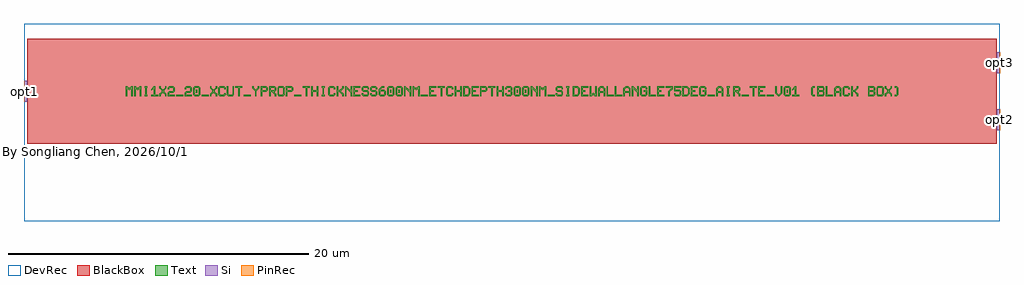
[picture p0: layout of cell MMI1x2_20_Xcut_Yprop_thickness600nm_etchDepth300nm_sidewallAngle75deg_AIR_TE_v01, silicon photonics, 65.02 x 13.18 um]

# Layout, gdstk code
import gdstk
lib = gdstk.Library(unit=1e-6, precision=1e-10)
def R(c, l, rs):  # rectangles x0, y0, x1, y1
    for r in rs: c.add(gdstk.rectangle(r[:2], r[2:], *l))
def A(c, l, x, y, w, h, nx, ny, dx, dy):  # array of equal rectangles
    R(c, l, [(x+i*dx, y+j*dy, x+i*dx+w, y+j*dy+h) for i in range(nx) for j in range(ny)])
def P(c, l, *ps):  # polygons
    for p in ps: c.add(gdstk.Polygon(p, *l))
Si = (1, 0)
PinRec = (1, 10)
Text = (10, 0)
DevRec = (68, 0)
BlackBox = (998, 0)

text = lib.new_cell('TEXT')
A(text, Text, 11.24, 0, 0.468, 0.094, 3, 1, 8.43, 0)
R(text, Text, [(3.372,0,3.84,0.094), (5.058,0,5.526,0.094), (7.868,0,8.336,0.094), (38.778,0,39.246,0.094), (41.026,0,41.494,0.094), (42.712,0,43.18,0.094), (4.683,0.234,4.777,0.421), (17.609,0.234,17.703,0.421), (18.171,0.234,18.265,0.421), (26.039,0.234,26.133,0.421), (26.601,0.234,26.695,0.421), (44.023,0.234,44.117,0.421)])
P(text, Text, [(0,0),(0,0.655),(0.094,0.655),(0.187,0.562),(0.281,0.562),(0.374,0.655),(0.468,0.655),(0.468,0),(0.374,0),(0.374,0.468),(0.328,0.468),(0.234,0.374),(0.14,0.468),(0.094,0.468),(0.094,0)],
  [(0.562,0),(0.562,0.655),(0.656,0.655),(0.749,0.562),(0.843,0.562),(0.936,0.655),(1.03,0.655),(1.03,0),(0.936,0),(0.936,0.468),(0.89,0.468),(0.796,0.374),(0.702,0.468),(0.656,0.468),(0.656,0)],
  [(1.264,0),(1.264,0.094),(1.311,0.094),(1.311,0.562),(1.264,0.562),(1.264,0.655),(1.452,0.655),(1.452,0.562),(1.405,0.562),(1.405,0.094),(1.452,0.094),(1.452,0)],
  [(1.686,0),(1.686,0.094),(1.873,0.094),(1.873,0.468),(1.826,0.468),(1.733,0.374),(1.686,0.374),(1.686,0.468),(1.873,0.655),(1.967,0.655),(1.967,0.094),(2.154,0.094),(2.154,0)],
  [(2.248,0),(2.248,0.14),(2.388,0.281),(2.388,0.374),(2.248,0.515),(2.248,0.655),(2.342,0.655),(2.342,0.562),(2.482,0.421),(2.622,0.562),(2.622,0.655),(2.716,0.655),(2.716,0.515),(2.576,0.374),(2.576,0.281),(2.716,0.14),(2.716,0),(2.622,0),(2.622,0.094),(2.482,0.234),(2.342,0.094),(2.342,0)],
  [(2.81,0),(2.81,0.234),(2.904,0.328),(3.138,0.328),(3.184,0.374),(3.184,0.515),(3.138,0.562),(2.95,0.562),(2.904,0.515),(2.904,0.468),(2.81,0.468),(2.81,0.562),(2.904,0.655),(3.184,0.655),(3.278,0.562),(3.278,0.328),(3.184,0.234),(2.95,0.234),(2.904,0.187),(2.904,0.094),(3.278,0.094),(3.278,0)],
  [(3.934,0),(3.934,0.234),(4.028,0.328),(4.262,0.328),(4.308,0.374),(4.308,0.515),(4.262,0.562),(4.074,0.562),(4.028,0.515),(4.028,0.468),(3.934,0.468),(3.934,0.562),(4.028,0.655),(4.308,0.655),(4.402,0.562),(4.402,0.328),(4.308,0.234),(4.074,0.234),(4.028,0.187),(4.028,0.094),(4.402,0.094),(4.402,0)],
  [(4.59,0),(4.496,0.094),(4.496,0.562),(4.59,0.655),(4.87,0.655),(4.964,0.562),(4.636,0.562),(4.59,0.515),(4.59,0.14),(4.636,0.094),(4.824,0.094),(4.87,0.14),(4.87,0.515),(4.824,0.562),(4.964,0.562),(4.964,0.094),(4.87,0)],
  [(5.62,0),(5.62,0.14),(5.76,0.281),(5.76,0.374),(5.62,0.515),(5.62,0.655),(5.714,0.655),(5.714,0.562),(5.854,0.421),(5.994,0.562),(5.994,0.655),(6.088,0.655),(6.088,0.515),(5.948,0.374),(5.948,0.281),(6.088,0.14),(6.088,0),(5.994,0),(5.994,0.094),(5.854,0.234),(5.714,0.094),(5.714,0)],
  [(6.276,0),(6.182,0.094),(6.182,0.562),(6.276,0.655),(6.556,0.655),(6.65,0.562),(6.65,0.468),(6.556,0.468),(6.556,0.515),(6.51,0.562),(6.322,0.562),(6.276,0.515),(6.276,0.14),(6.322,0.094),(6.51,0.094),(6.556,0.14),(6.556,0.187),(6.65,0.187),(6.65,0.094),(6.556,0)],
  [(6.838,0),(6.744,0.094),(6.744,0.655),(6.838,0.655),(6.838,0.14),(6.884,0.094),(7.072,0.094),(7.118,0.14),(7.118,0.655),(7.212,0.655),(7.212,0.094),(7.118,0)],
  [(7.493,0),(7.493,0.562),(7.306,0.562),(7.306,0.655),(7.774,0.655),(7.774,0.562),(7.587,0.562),(7.587,0)],
  [(8.617,0),(8.617,0.328),(8.43,0.515),(8.43,0.655),(8.524,0.655),(8.524,0.562),(8.664,0.421),(8.804,0.562),(8.804,0.655),(8.898,0.655),(8.898,0.515),(8.711,0.328),(8.711,0)],
  [(8.992,0),(8.992,0.655),(9.366,0.655),(9.46,0.562),(9.46,0.374),(9.366,0.281),(9.086,0.281),(9.086,0.374),(9.32,0.374),(9.366,0.421),(9.366,0.515),(9.32,0.562),(9.086,0.562),(9.086,0)],
  [(9.554,0),(9.554,0.655),(9.928,0.655),(10.022,0.562),(9.648,0.562),(9.648,0.374),(9.882,0.374),(9.928,0.421),(9.928,0.515),(9.882,0.562),(10.022,0.562),(10.022,0.374),(9.928,0.281),(9.928,0.234),(10.022,0.14),(10.022,0),(9.928,0),(9.928,0.094),(9.741,0.281),(9.648,0.281),(9.648,0)],
  [(10.21,0),(10.116,0.094),(10.116,0.562),(10.21,0.655),(10.49,0.655),(10.584,0.562),(10.584,0.328),(10.49,0.328),(10.49,0.515),(10.444,0.562),(10.256,0.562),(10.21,0.515),(10.21,0.14),(10.256,0.094),(10.444,0.094),(10.49,0.14),(10.49,0.328),(10.584,0.328),(10.584,0.094),(10.49,0)],
  [(10.678,0),(10.678,0.655),(11.052,0.655),(11.146,0.562),(11.146,0.374),(11.052,0.281),(10.772,0.281),(10.772,0.374),(11.006,0.374),(11.052,0.421),(11.052,0.515),(11.006,0.562),(10.772,0.562),(10.772,0)],
  [(11.989,0),(11.989,0.562),(11.802,0.562),(11.802,0.655),(12.27,0.655),(12.27,0.562),(12.083,0.562),(12.083,0)],
  [(12.364,0),(12.364,0.655),(12.458,0.655),(12.458,0.374),(12.738,0.374),(12.738,0.655),(12.832,0.655),(12.832,0),(12.738,0),(12.738,0.281),(12.458,0.281),(12.458,0)],
  [(13.066,0),(13.066,0.094),(13.113,0.094),(13.113,0.562),(13.066,0.562),(13.066,0.655),(13.254,0.655),(13.254,0.562),(13.207,0.562),(13.207,0.094),(13.254,0.094),(13.254,0)],
  [(13.582,0),(13.488,0.094),(13.488,0.562),(13.582,0.655),(13.862,0.655),(13.956,0.562),(13.956,0.468),(13.862,0.468),(13.862,0.515),(13.816,0.562),(13.628,0.562),(13.582,0.515),(13.582,0.14),(13.628,0.094),(13.816,0.094),(13.862,0.14),(13.862,0.187),(13.956,0.187),(13.956,0.094),(13.862,0)],
  [(14.05,0),(14.05,0.655),(14.144,0.655),(14.144,0.374),(14.237,0.374),(14.424,0.562),(14.424,0.655),(14.518,0.655),(14.518,0.515),(14.331,0.328),(14.518,0.14),(14.518,0),(14.424,0),(14.424,0.094),(14.237,0.281),(14.144,0.281),(14.144,0)],
  [(14.612,0),(14.612,0.655),(14.706,0.655),(14.94,0.421),(14.986,0.421),(14.986,0.655),(15.08,0.655),(15.08,0),(14.986,0),(14.986,0.234),(14.752,0.468),(14.706,0.468),(14.706,0)],
  [(15.174,0),(15.174,0.655),(15.642,0.655),(15.642,0.562),(15.268,0.562),(15.268,0.374),(15.455,0.374),(15.455,0.281),(15.268,0.281),(15.268,0.094),(15.642,0.094),(15.642,0)],
  [(15.83,0),(15.736,0.094),(15.736,0.187),(15.83,0.187),(15.83,0.14),(15.876,0.094),(16.064,0.094),(16.11,0.14),(16.11,0.234),(16.064,0.281),(15.83,0.281),(15.736,0.374),(15.736,0.562),(15.83,0.655),(16.11,0.655),(16.204,0.562),(16.204,0.468),(16.11,0.468),(16.11,0.515),(16.064,0.562),(15.876,0.562),(15.83,0.515),(15.83,0.421),(15.876,0.374),(16.11,0.374),(16.204,0.281),(16.204,0.094),(16.11,0)],
  [(16.392,0),(16.298,0.094),(16.298,0.187),(16.392,0.187),(16.392,0.14),(16.438,0.094),(16.626,0.094),(16.672,0.14),(16.672,0.234),(16.626,0.281),(16.392,0.281),(16.298,0.374),(16.298,0.562),(16.392,0.655),(16.672,0.655),(16.766,0.562),(16.766,0.468),(16.672,0.468),(16.672,0.515),(16.626,0.562),(16.438,0.562),(16.392,0.515),(16.392,0.421),(16.438,0.374),(16.672,0.374),(16.766,0.281),(16.766,0.094),(16.672,0)],
  [(16.954,0),(16.86,0.094),(16.86,0.468),(17.047,0.655),(17.234,0.655),(17.234,0.562),(17.094,0.562),(17,0.468),(17,0.421),(17.234,0.421),(17.328,0.328),(17,0.328),(16.954,0.281),(16.954,0.14),(17,0.094),(17.188,0.094),(17.234,0.14),(17.234,0.281),(17.188,0.328),(17.328,0.328),(17.328,0.094),(17.234,0)],
  [(17.516,0),(17.422,0.094),(17.422,0.562),(17.516,0.655),(17.796,0.655),(17.89,0.562),(17.562,0.562),(17.516,0.515),(17.516,0.14),(17.562,0.094),(17.75,0.094),(17.796,0.14),(17.796,0.515),(17.75,0.562),(17.89,0.562),(17.89,0.094),(17.796,0)],
  [(18.078,0),(17.984,0.094),(17.984,0.562),(18.078,0.655),(18.358,0.655),(18.452,0.562),(18.124,0.562),(18.078,0.515),(18.078,0.14),(18.124,0.094),(18.312,0.094),(18.358,0.14),(18.358,0.515),(18.312,0.562),(18.452,0.562),(18.452,0.094),(18.358,0)],
  [(18.546,0),(18.546,0.655),(18.64,0.655),(18.874,0.421),(18.92,0.421),(18.92,0.655),(19.014,0.655),(19.014,0),(18.92,0),(18.92,0.234),(18.686,0.468),(18.64,0.468),(18.64,0)],
  [(19.108,0),(19.108,0.655),(19.202,0.655),(19.295,0.562),(19.389,0.562),(19.482,0.655),(19.576,0.655),(19.576,0),(19.482,0),(19.482,0.468),(19.436,0.468),(19.342,0.374),(19.248,0.468),(19.202,0.468),(19.202,0)],
  [(20.232,0),(20.232,0.655),(20.7,0.655),(20.7,0.562),(20.326,0.562),(20.326,0.374),(20.513,0.374),(20.513,0.281),(20.326,0.281),(20.326,0.094),(20.7,0.094),(20.7,0)],
  [(20.981,0),(20.981,0.562),(20.794,0.562),(20.794,0.655),(21.262,0.655),(21.262,0.562),(21.075,0.562),(21.075,0)],
  [(21.45,0),(21.356,0.094),(21.356,0.562),(21.45,0.655),(21.73,0.655),(21.824,0.562),(21.824,0.468),(21.73,0.468),(21.73,0.515),(21.684,0.562),(21.496,0.562),(21.45,0.515),(21.45,0.14),(21.496,0.094),(21.684,0.094),(21.73,0.14),(21.73,0.187),(21.824,0.187),(21.824,0.094),(21.73,0)],
  [(21.918,0),(21.918,0.655),(22.012,0.655),(22.012,0.374),(22.292,0.374),(22.292,0.655),(22.386,0.655),(22.386,0),(22.292,0),(22.292,0.281),(22.012,0.281),(22.012,0)],
  [(22.48,0),(22.48,0.655),(22.808,0.655),(22.901,0.562),(22.574,0.562),(22.574,0.094),(22.761,0.094),(22.854,0.187),(22.854,0.468),(22.761,0.562),(22.901,0.562),(22.948,0.515),(22.948,0.14),(22.808,0)],
  [(23.042,0),(23.042,0.655),(23.51,0.655),(23.51,0.562),(23.136,0.562),(23.136,0.374),(23.323,0.374),(23.323,0.281),(23.136,0.281),(23.136,0.094),(23.51,0.094),(23.51,0)],
  [(23.604,0),(23.604,0.655),(23.978,0.655),(24.072,0.562),(24.072,0.374),(23.978,0.281),(23.698,0.281),(23.698,0.374),(23.932,0.374),(23.978,0.421),(23.978,0.515),(23.932,0.562),(23.698,0.562),(23.698,0)],
  [(24.353,0),(24.353,0.562),(24.166,0.562),(24.166,0.655),(24.634,0.655),(24.634,0.562),(24.447,0.562),(24.447,0)],
  [(24.728,0),(24.728,0.655),(24.822,0.655),(24.822,0.374),(25.102,0.374),(25.102,0.655),(25.196,0.655),(25.196,0),(25.102,0),(25.102,0.281),(24.822,0.281),(24.822,0)],
  [(25.384,0),(25.29,0.094),(25.29,0.187),(25.384,0.187),(25.384,0.14),(25.43,0.094),(25.618,0.094),(25.664,0.14),(25.664,0.234),(25.618,0.281),(25.477,0.281),(25.477,0.374),(25.618,0.374),(25.664,0.421),(25.664,0.515),(25.618,0.562),(25.43,0.562),(25.384,0.515),(25.384,0.468),(25.29,0.468),(25.29,0.562),(25.384,0.655),(25.664,0.655),(25.758,0.562),(25.758,0.374),(25.711,0.328),(25.758,0.281),(25.758,0.094),(25.664,0)],
  [(25.946,0),(25.852,0.094),(25.852,0.562),(25.946,0.655),(26.226,0.655),(26.32,0.562),(25.992,0.562),(25.946,0.515),(25.946,0.14),(25.992,0.094),(26.18,0.094),(26.226,0.14),(26.226,0.515),(26.18,0.562),(26.32,0.562),(26.32,0.094),(26.226,0)],
  [(26.508,0),(26.414,0.094),(26.414,0.562),(26.508,0.655),(26.788,0.655),(26.882,0.562),(26.554,0.562),(26.508,0.515),(26.508,0.14),(26.554,0.094),(26.742,0.094),(26.788,0.14),(26.788,0.515),(26.742,0.562),(26.882,0.562),(26.882,0.094),(26.788,0)],
  [(26.976,0),(26.976,0.655),(27.07,0.655),(27.304,0.421),(27.35,0.421),(27.35,0.655),(27.444,0.655),(27.444,0),(27.35,0),(27.35,0.234),(27.116,0.468),(27.07,0.468),(27.07,0)],
  [(27.538,0),(27.538,0.655),(27.632,0.655),(27.725,0.562),(27.819,0.562),(27.912,0.655),(28.006,0.655),(28.006,0),(27.912,0),(27.912,0.468),(27.866,0.468),(27.772,0.374),(27.678,0.468),(27.632,0.468),(27.632,0)],
  [(28.756,0),(28.662,0.094),(28.662,0.187),(28.756,0.187),(28.756,0.14),(28.802,0.094),(28.99,0.094),(29.036,0.14),(29.036,0.234),(28.99,0.281),(28.756,0.281),(28.662,0.374),(28.662,0.562),(28.756,0.655),(29.036,0.655),(29.13,0.562),(29.13,0.468),(29.036,0.468),(29.036,0.515),(28.99,0.562),(28.802,0.562),(28.756,0.515),(28.756,0.421),(28.802,0.374),(29.036,0.374),(29.13,0.281),(29.13,0.094),(29.036,0)],
  [(29.364,0),(29.364,0.094),(29.411,0.094),(29.411,0.562),(29.364,0.562),(29.364,0.655),(29.552,0.655),(29.552,0.562),(29.505,0.562),(29.505,0.094),(29.552,0.094),(29.552,0)],
  [(29.786,0),(29.786,0.655),(30.114,0.655),(30.207,0.562),(29.88,0.562),(29.88,0.094),(30.067,0.094),(30.16,0.187),(30.16,0.468),(30.067,0.562),(30.207,0.562),(30.254,0.515),(30.254,0.14),(30.114,0)],
  [(30.348,0),(30.348,0.655),(30.816,0.655),(30.816,0.562),(30.442,0.562),(30.442,0.374),(30.629,0.374),(30.629,0.281),(30.442,0.281),(30.442,0.094),(30.816,0.094),(30.816,0)],
  [(30.91,0),(30.91,0.655),(31.004,0.655),(31.004,0.14),(31.05,0.14),(31.144,0.234),(31.238,0.14),(31.284,0.14),(31.284,0.655),(31.378,0.655),(31.378,0),(31.238,0),(31.144,0.094),(31.05,0)],
  [(31.472,0),(31.472,0.515),(31.612,0.655),(31.8,0.655),(31.893,0.562),(31.659,0.562),(31.566,0.468),(31.566,0.328),(31.846,0.328),(31.846,0.468),(31.753,0.562),(31.893,0.562),(31.94,0.515),(31.94,0),(31.846,0),(31.846,0.234),(31.566,0.234),(31.566,0)],
  [(32.034,0),(32.034,0.655),(32.128,0.655),(32.128,0.094),(32.502,0.094),(32.502,0)],
  [(32.596,0),(32.596,0.655),(32.69,0.655),(32.69,0.094),(33.064,0.094),(33.064,0)],
  [(33.158,0),(33.158,0.515),(33.298,0.655),(33.486,0.655),(33.579,0.562),(33.345,0.562),(33.252,0.468),(33.252,0.328),(33.532,0.328),(33.532,0.468),(33.439,0.562),(33.579,0.562),(33.626,0.515),(33.626,0),(33.532,0),(33.532,0.234),(33.252,0.234),(33.252,0)],
  [(33.72,0),(33.72,0.655),(33.814,0.655),(34.048,0.421),(34.094,0.421),(34.094,0.655),(34.188,0.655),(34.188,0),(34.094,0),(34.094,0.234),(33.86,0.468),(33.814,0.468),(33.814,0)],
  [(34.376,0),(34.282,0.094),(34.282,0.562),(34.376,0.655),(34.656,0.655),(34.75,0.562),(34.75,0.468),(34.656,0.468),(34.656,0.515),(34.61,0.562),(34.422,0.562),(34.376,0.515),(34.376,0.14),(34.422,0.094),(34.61,0.094),(34.656,0.14),(34.656,0.281),(34.516,0.281),(34.516,0.374),(34.75,0.374),(34.75,0.094),(34.656,0)],
  [(34.844,0),(34.844,0.655),(34.938,0.655),(34.938,0.094),(35.312,0.094),(35.312,0)],
  [(35.406,0),(35.406,0.655),(35.874,0.655),(35.874,0.562),(35.5,0.562),(35.5,0.374),(35.687,0.374),(35.687,0.281),(35.5,0.281),(35.5,0.094),(35.874,0.094),(35.874,0)],
  [(36.155,0),(36.155,0.328),(36.342,0.515),(36.342,0.562),(35.968,0.562),(35.968,0.655),(36.436,0.655),(36.436,0.468),(36.249,0.281),(36.249,0)],
  [(36.624,0),(36.53,0.094),(36.53,0.187),(36.624,0.187),(36.624,0.14),(36.67,0.094),(36.858,0.094),(36.904,0.14),(36.904,0.281),(36.858,0.328),(36.53,0.328),(36.53,0.655),(36.998,0.655),(36.998,0.562),(36.624,0.562),(36.624,0.421),(36.904,0.421),(36.998,0.328),(36.998,0.094),(36.904,0)],
  [(37.092,0),(37.092,0.655),(37.42,0.655),(37.513,0.562),(37.186,0.562),(37.186,0.094),(37.373,0.094),(37.466,0.187),(37.466,0.468),(37.373,0.562),(37.513,0.562),(37.56,0.515),(37.56,0.14),(37.42,0)],
  [(37.654,0),(37.654,0.655),(38.122,0.655),(38.122,0.562),(37.748,0.562),(37.748,0.374),(37.935,0.374),(37.935,0.281),(37.748,0.281),(37.748,0.094),(38.122,0.094),(38.122,0)],
  [(38.31,0),(38.216,0.094),(38.216,0.562),(38.31,0.655),(38.59,0.655),(38.684,0.562),(38.684,0.468),(38.59,0.468),(38.59,0.515),(38.544,0.562),(38.356,0.562),(38.31,0.515),(38.31,0.14),(38.356,0.094),(38.544,0.094),(38.59,0.14),(38.59,0.281),(38.45,0.281),(38.45,0.374),(38.684,0.374),(38.684,0.094),(38.59,0)],
  [(39.34,0),(39.34,0.515),(39.48,0.655),(39.668,0.655),(39.761,0.562),(39.527,0.562),(39.434,0.468),(39.434,0.328),(39.714,0.328),(39.714,0.468),(39.621,0.562),(39.761,0.562),(39.808,0.515),(39.808,0),(39.714,0),(39.714,0.234),(39.434,0.234),(39.434,0)],
  [(40.042,0),(40.042,0.094),(40.089,0.094),(40.089,0.562),(40.042,0.562),(40.042,0.655),(40.23,0.655),(40.23,0.562),(40.183,0.562),(40.183,0.094),(40.23,0.094),(40.23,0)],
  [(40.464,0),(40.464,0.655),(40.838,0.655),(40.932,0.562),(40.558,0.562),(40.558,0.374),(40.792,0.374),(40.838,0.421),(40.838,0.515),(40.792,0.562),(40.932,0.562),(40.932,0.374),(40.838,0.281),(40.838,0.234),(40.932,0.14),(40.932,0),(40.838,0),(40.838,0.094),(40.651,0.281),(40.558,0.281),(40.558,0)],
  [(41.775,0),(41.775,0.562),(41.588,0.562),(41.588,0.655),(42.056,0.655),(42.056,0.562),(41.869,0.562),(41.869,0)],
  [(42.15,0),(42.15,0.655),(42.618,0.655),(42.618,0.562),(42.244,0.562),(42.244,0.374),(42.431,0.374),(42.431,0.281),(42.244,0.281),(42.244,0.094),(42.618,0.094),(42.618,0)],
  [(43.461,0),(43.274,0.187),(43.274,0.655),(43.368,0.655),(43.368,0.234),(43.508,0.094),(43.648,0.234),(43.648,0.655),(43.742,0.655),(43.742,0.187),(43.555,0)],
  [(43.93,0),(43.836,0.094),(43.836,0.562),(43.93,0.655),(44.21,0.655),(44.304,0.562),(43.976,0.562),(43.93,0.515),(43.93,0.14),(43.976,0.094),(44.164,0.094),(44.21,0.14),(44.21,0.515),(44.164,0.562),(44.304,0.562),(44.304,0.094),(44.21,0)],
  [(44.398,0),(44.398,0.094),(44.585,0.094),(44.585,0.468),(44.538,0.468),(44.445,0.374),(44.398,0.374),(44.398,0.468),(44.585,0.655),(44.679,0.655),(44.679,0.094),(44.866,0.094),(44.866,0)],
  [(45.756,0),(45.662,0.094),(45.662,0.562),(45.756,0.655),(45.896,0.655),(45.896,0.562),(45.803,0.562),(45.756,0.515),(45.756,0.14),(45.803,0.094),(45.896,0.094),(45.896,0)],
  [(46.084,0),(46.084,0.655),(46.458,0.655),(46.552,0.562),(46.178,0.562),(46.178,0.374),(46.412,0.374),(46.458,0.421),(46.458,0.515),(46.412,0.562),(46.552,0.562),(46.552,0.374),(46.505,0.328),(46.552,0.281),(46.178,0.281),(46.178,0.094),(46.412,0.094),(46.458,0.14),(46.458,0.234),(46.412,0.281),(46.552,0.281),(46.552,0.094),(46.458,0)],
  [(46.646,0),(46.646,0.655),(46.74,0.655),(46.74,0.094),(47.114,0.094),(47.114,0)],
  [(47.208,0),(47.208,0.515),(47.348,0.655),(47.536,0.655),(47.629,0.562),(47.395,0.562),(47.302,0.468),(47.302,0.328),(47.582,0.328),(47.582,0.468),(47.489,0.562),(47.629,0.562),(47.676,0.515),(47.676,0),(47.582,0),(47.582,0.234),(47.302,0.234),(47.302,0)],
  [(47.864,0),(47.77,0.094),(47.77,0.562),(47.864,0.655),(48.144,0.655),(48.238,0.562),(48.238,0.468),(48.144,0.468),(48.144,0.515),(48.098,0.562),(47.91,0.562),(47.864,0.515),(47.864,0.14),(47.91,0.094),(48.098,0.094),(48.144,0.14),(48.144,0.187),(48.238,0.187),(48.238,0.094),(48.144,0)],
  [(48.332,0),(48.332,0.655),(48.426,0.655),(48.426,0.374),(48.519,0.374),(48.706,0.562),(48.706,0.655),(48.8,0.655),(48.8,0.515),(48.613,0.328),(48.8,0.14),(48.8,0),(48.706,0),(48.706,0.094),(48.519,0.281),(48.426,0.281),(48.426,0)],
  [(49.456,0),(49.456,0.655),(49.83,0.655),(49.924,0.562),(49.55,0.562),(49.55,0.374),(49.784,0.374),(49.83,0.421),(49.83,0.515),(49.784,0.562),(49.924,0.562),(49.924,0.374),(49.877,0.328),(49.924,0.281),(49.55,0.281),(49.55,0.094),(49.784,0.094),(49.83,0.14),(49.83,0.234),(49.784,0.281),(49.924,0.281),(49.924,0.094),(49.83,0)],
  [(50.112,0),(50.018,0.094),(50.018,0.562),(50.112,0.655),(50.392,0.655),(50.486,0.562),(50.486,0.328),(50.392,0.328),(50.392,0.515),(50.346,0.562),(50.158,0.562),(50.112,0.515),(50.112,0.14),(50.158,0.094),(50.346,0.094),(50.392,0.14),(50.392,0.328),(50.486,0.328),(50.486,0.094),(50.392,0)],
  [(50.58,0),(50.58,0.14),(50.72,0.281),(50.72,0.374),(50.58,0.515),(50.58,0.655),(50.674,0.655),(50.674,0.562),(50.814,0.421),(50.954,0.562),(50.954,0.655),(51.048,0.655),(51.048,0.515),(50.908,0.374),(50.908,0.281),(51.048,0.14),(51.048,0),(50.954,0),(50.954,0.094),(50.814,0.234),(50.674,0.094),(50.674,0)],
  [(51.236,0),(51.236,0.094),(51.329,0.094),(51.376,0.14),(51.376,0.515),(51.329,0.562),(51.236,0.562),(51.236,0.655),(51.376,0.655),(51.47,0.562),(51.47,0.094),(51.376,0)])

mmi1x2_20_xcut_yprop_thi = lib.new_cell('MMI1x2_20_Xcut_Yprop_thickness600nm_etchDepth300nm_sidewallAngle75deg_AIR_TE_v01')
R(mmi1x2_20_xcut_yprop_thi, Si, [(32.3,-2.6,32.5,-1.2), (-32.5,-0.7,-32.3,0.7), (32.3,1.2,32.5,2.6)])
R(mmi1x2_20_xcut_yprop_thi, DevRec, [(-32.5,-8.6814,32.5,4.5)])
R(mmi1x2_20_xcut_yprop_thi, BlackBox, [(-32.3,-3.5,32.3,3.5)])
mmi1x2_20_xcut_yprop_thi.add(gdstk.FlexPath([(-32.49,0),(-32.51,0)], 1.4, ends="flush", simple_path=True, layer=1, datatype=10))  # PinRec
mmi1x2_20_xcut_yprop_thi.add(gdstk.FlexPath([(32.49,-1.9),(32.51,-1.9)], 1.4, ends="flush", simple_path=True, layer=1, datatype=10))  # PinRec
mmi1x2_20_xcut_yprop_thi.add(gdstk.FlexPath([(32.49,1.9),(32.51,1.9)], 1.4, ends="flush", simple_path=True, layer=1, datatype=10))  # PinRec
mmi1x2_20_xcut_yprop_thi.add(gdstk.Reference(text, (-25.735,-0.3275)))
mmi1x2_20_xcut_yprop_thi.add(gdstk.Label('opt1', (-32.5,0), layer=1, texttype=10))
mmi1x2_20_xcut_yprop_thi.add(gdstk.Label('opt2', (32.5,-1.9), layer=1, texttype=10))
mmi1x2_20_xcut_yprop_thi.add(gdstk.Label('opt3', (32.5,1.9), layer=1, texttype=10))
mmi1x2_20_xcut_yprop_thi.add(gdstk.Label('By Songliang Chen, 2026/10/13', (-32,-4), layer=10, texttype=0))

lib.write_gds('MMI1x2_20_Xcut_Yprop_thickness600nm_etchDepth300nm_sidewallAngle75deg_AIR_TE_v01.gds')
